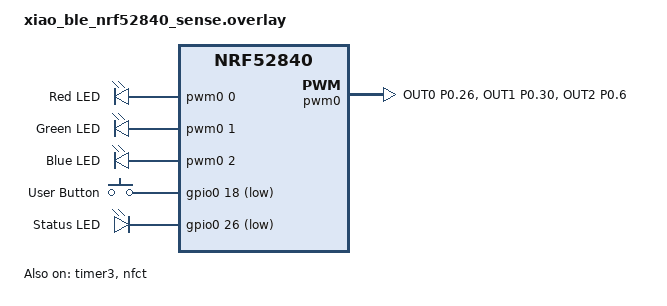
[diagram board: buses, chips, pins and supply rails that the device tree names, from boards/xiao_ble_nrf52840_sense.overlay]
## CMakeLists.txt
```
# SPDX-License-Identifier: Apache-2.0

cmake_minimum_required(VERSION 3.20.0)
find_package(Zephyr REQUIRED HINTS $ENV{ZEPHYR_BASE})
project(haykulFinderFirmware)

target_sources(app PRIVATE
    src/main.cpp
    src/ble_manager.cpp
    src/buzzer.cpp
    src/imu_bma400.cpp
    src/nfc_manager.cpp
    src/button_manager.cpp
    src/led_manager.cpp
    src/battery_monitor.cpp
)
```

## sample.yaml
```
sample:
  name: haykulFinderFirmware
tests:
  sample.basic.haykulFinderFirmware:
    tags:
      - LED
      - gpio
    filter: dt_enabled_alias_with_parent_compat("led0", "gpio-leds")
    depends_on: gpio
    harness: led
    integration_platforms:
      - frdm_k64f
```

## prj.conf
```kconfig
# Zephyr feature switches for HaykulFinder
CONFIG_GPIO=y
CONFIG_LOG=y
CONFIG_CBPRINTF_FP_SUPPORT=y
CONFIG_SENSOR=y

# Enable the PWM driver for the Piezo Buzzer
CONFIG_PWM=y

# Enable C++ support
CONFIG_CPP=y
CONFIG_STD_CPP17=y

# Enable Bluetooth support
CONFIG_BT=y
CONFIG_BT_PERIPHERAL=y
CONFIG_BT_DEVICE_NAME="HaykulTracker"
CONFIG_BT_SMP=y
CONFIG_BT_SETTINGS=y
CONFIG_FLASH=y
CONFIG_FLASH_MAP=y
CONFIG_NVS=y
CONFIG_SETTINGS=y

# Enable RTT logging
CONFIG_USE_SEGGER_RTT=y
CONFIG_LOG_BACKEND_RTT=y
CONFIG_CONSOLE=y
CONFIG_RTT_CONSOLE=y
CONFIG_UART_CONSOLE=n

# --- I2C for BMA400 Accelerometer ---
# Schematic: CSB=VDD selects I2C mode, SDO=GND selects addr 0x14
# Note: Zephyr has no native BMA400 driver; using raw I2C in imu_bma400.cpp
CONFIG_I2C=y

# --- Power Management ---
# Note: CONFIG_PM requires HAS_PM which depends on SYS_CLOCK_EXISTS
# Removed PM configs that aren't supported on this SoC/board combo

# --- NFC T2T for OOB Pairing ---
CONFIG_NFC_T2T_NRFXLIB=y
CONFIG_NFC_NDEF=y
CONFIG_NFC_NDEF_MSG=y
CONFIG_NFC_NDEF_RECORD=y
CONFIG_NFC_NDEF_LE_OOB_REC=y
CONFIG_NFC_NDEF_LAUNCHAPP_REC=y

# Battery Service
CONFIG_BT_BAS=y

# --- ADC for battery level (SAADC VDDHDIV5) ---
CONFIG_ADC=y
CONFIG_ADC_NRFX_SAADC=y

# --- Work queues / timers for button + LED ---
CONFIG_SYSTEM_WORKQUEUE_STACK_SIZE=2048

# --- Heap: required by NFC_THREAD_CALLBACK ring buffer ---
CONFIG_HEAP_MEM_POOL_SIZE=1024
```

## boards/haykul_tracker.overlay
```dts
/*
 * HaykulTracker Devicetree Overlay
 * Targeting Raytac MDBT50Q-P1MV2 (nRF52840)
 *
 * Verified pin mapping from tracker.kicad_sch:
 *   BMA400 (I2C mode):
 *     SCL -> P0.12,  SDA -> P0.11,  INT1 -> P0.13
 *     CSB -> VDD (I2C enabled), SDO -> GND (I2C addr 0x14)
 *   Buzzer:
 *     P0.14 -> BSS138 Gate -> MOSFET drives piezo buzzer
 *   NFC:
 *     P0.09/P0.10 (nRF52840 built-in NFC pins)
 */

/ {
    aliases {
        buzzer-pwm  = &buzzer_pwm;
        user-button = &user_button;
        status-led  = &status_led_0;
    };

    buzzer {
        compatible = "pwm-leds";
        buzzer_pwm: buzzer_0 {
            pwms = <&pwm0 0 PWM_HZ(4000) PWM_POLARITY_NORMAL>;
            label = "Piezo Buzzer";
        };
    };

    /* Push-button SW1: connected between P1.10 and GND (active-low). */
    buttons {
        compatible = "gpio-keys";
        user_button: button_0 {
            gpios = <&gpio1 10 (GPIO_ACTIVE_LOW | GPIO_PULL_UP)>;
            label = "User Button";
        };
    };

    /* Software status LED on P0.20. Active-high.
     * Note: D1 (charging LED) is driven by MCP73831 STAT — not by firmware. */
    leds {
        compatible = "gpio-leds";
        status_led_0: led_0 {
            gpios = <&gpio0 20 GPIO_ACTIVE_HIGH>;
            label = "Status LED";
        };
    };
};

&pinctrl {
    i2c0_default: i2c0_default {
        group1 {
            psels = <NRF_PSEL(TWIM_SCL, 0, 12)>,  /* P0.12 -> BMA400 SCX */
                    <NRF_PSEL(TWIM_SDA, 0, 11)>;   /* P0.11 -> BMA400 SDX */
        };
    };

    i2c0_sleep: i2c0_sleep {
        group1 {
            psels = <NRF_PSEL(TWIM_SCL, 0, 12)>,
                    <NRF_PSEL(TWIM_SDA, 0, 11)>;
            low-power-enable;
        };
    };

    pwm0_default: pwm0_default {
        group1 {
            psels = <NRF_PSEL(PWM_OUT0, 0, 14)>;   /* P0.14 -> BSS138 Gate -> Buzzer */
        };
    };

    pwm0_sleep: pwm0_sleep {
        group1 {
            psels = <NRF_PSEL(PWM_OUT0, 0, 14)>;
            low-power-enable;
        };
    };
};

&i2c0 {
    compatible = "nordic,nrf-twim";
    status = "okay";
    pinctrl-0 = <&i2c0_default>;
    pinctrl-1 = <&i2c0_sleep>;
    pinctrl-names = "default", "sleep";
    clock-frequency = <I2C_BITRATE_FAST>;  /* 400kHz */
};

&pwm0 {
    status = "okay";
    pinctrl-0 = <&pwm0_default>;
    pinctrl-1 = <&pwm0_sleep>;
    pinctrl-names = "default", "sleep";
};

/* Enable SAADC for internal VDDHDIV5 battery-level measurement. */
&adc {
    status = "okay";
};

/* Enable the NFCT peripheral for NFC T2T tap-to-pair.
 * Uses nRF52840 dedicated NFC pins P0.09/P0.10. */
&nfct {
    status = "okay";
};
```

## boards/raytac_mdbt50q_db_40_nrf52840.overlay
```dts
/*
 * HaykulTracker Devicetree Overlay
 * Targeting Raytac MDBT50Q-P1MV2 (nRF52840)
 *
 * Verified pin mapping from tracker.kicad_sch:
 *   BMA400 (I2C mode):
 *     SCL -> P0.12,  SDA -> P0.11,  INT1 -> P0.13
 *     CSB -> VDD (I2C enabled), SDO -> GND (I2C addr 0x14)
 *   Buzzer:
 *     P0.14 -> BSS138 Gate -> MOSFET drives piezo buzzer
 *   NFC:
 *     P0.09/P0.10 (nRF52840 built-in NFC pins)
 */

/ {
    aliases {
        buzzer-pwm  = &buzzer_pwm;
        user-button = &user_button;
        status-led  = &status_led_0;
    };

    buzzer {
        compatible = "pwm-leds";
        buzzer_pwm: buzzer_0 {
            pwms = <&pwm0 0 PWM_HZ(4000) PWM_POLARITY_NORMAL>;
            label = "Piezo Buzzer";
        };
    };

    /* Push-button SW1: connected between P1.10 and GND (active-low). */
    buttons {
        compatible = "gpio-keys";
        user_button: button_0 {
            gpios = <&gpio1 10 (GPIO_ACTIVE_LOW | GPIO_PULL_UP)>;
            label = "User Button";
        };
    };

    /* Software status LED on P0.20. Active-high.
     * Note: D1 (charging LED) is driven by MCP73831 STAT — not by firmware. */
    leds {
        compatible = "gpio-leds";
        status_led_0: led_0 {
            gpios = <&gpio0 20 GPIO_ACTIVE_HIGH>;
            label = "Status LED";
        };
    };
};

&pinctrl {
    i2c0_default: i2c0_default {
        group1 {
            psels = <NRF_PSEL(TWIM_SCL, 0, 12)>,  /* P0.12 -> BMA400 SCX */
                    <NRF_PSEL(TWIM_SDA, 0, 11)>;   /* P0.11 -> BMA400 SDX */
        };
    };

    i2c0_sleep: i2c0_sleep {
        group1 {
            psels = <NRF_PSEL(TWIM_SCL, 0, 12)>,
                    <NRF_PSEL(TWIM_SDA, 0, 11)>;
            low-power-enable;
        };
    };

    pwm0_default: pwm0_default {
        group1 {
            psels = <NRF_PSEL(PWM_OUT0, 0, 14)>;   /* P0.14 -> BSS138 Gate -> Buzzer */
        };
    };

    pwm0_sleep: pwm0_sleep {
        group1 {
            psels = <NRF_PSEL(PWM_OUT0, 0, 14)>;
            low-power-enable;
        };
    };
};

&i2c0 {
    compatible = "nordic,nrf-twim";
    status = "okay";
    pinctrl-0 = <&i2c0_default>;
    pinctrl-1 = <&i2c0_sleep>;
    pinctrl-names = "default", "sleep";
    clock-frequency = <I2C_BITRATE_FAST>;  /* 400kHz */
};

&pwm0 {
    status = "okay";
    pinctrl-0 = <&pwm0_default>;
    pinctrl-1 = <&pwm0_sleep>;
    pinctrl-names = "default", "sleep";
};

/* Enable SAADC for internal VDDHDIV5 battery-level measurement. */
&adc {
    status = "okay";
};
```

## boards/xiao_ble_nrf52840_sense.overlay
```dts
/*
 * Custom Devicetree Overlay for Seeed Studio XIAO nRF52840 Sense
 *
 * This file is automatically picked up by the Zephyr build system
 * based on its filename: <board_identifier>.overlay
 *
 * PWM is used here so all three RGB LEDs can be dimmed independently.
 * PWM0 channels 0-2 are mapped to the same GPIO pins as the board's
 * built-in led0/led1/led2 (P0.26 red, P0.30 green, P0.06 blue).
 */

/* Disable the plain GPIO leds node to avoid pin conflicts with PWM. */
&led0 { status = "disabled"; };
&led1 { status = "disabled"; };
&led2 { status = "disabled"; };

/* Configure PWM0 pin-control states for the three LED pins. */
&pinctrl {
    pwm0_default: pwm0_default {
        group1 {
            psels = <NRF_PSEL(PWM_OUT0, 0, 26)>,   /* Red   – P0.26 */
                    <NRF_PSEL(PWM_OUT1, 0, 30)>,   /* Green – P0.30 */
                    <NRF_PSEL(PWM_OUT2, 0, 6)>;    /* Blue  – P0.06 */
            nordic,invert; /* LEDs are active-low */
        };
    };

    pwm0_sleep: pwm0_sleep {
        group1 {
            psels = <NRF_PSEL(PWM_OUT0, 0, 26)>,
                    <NRF_PSEL(PWM_OUT1, 0, 30)>,
                    <NRF_PSEL(PWM_OUT2, 0, 6)>;
            low-power-enable;
        };
    };
};

/* Enable PWM0 with the pinctrl states defined above. */
&pwm0 {
    status = "okay";
    pinctrl-0 = <&pwm0_default>;
    pinctrl-1 = <&pwm0_sleep>;
    pinctrl-names = "default", "sleep";
};

/ {
    /* PWM LED nodes – one per colour channel. */
    pwmleds {
        compatible = "pwm-leds";

        pwm_led0: pwm_led_0 {
            pwms = <&pwm0 0 PWM_MSEC(20) PWM_POLARITY_INVERTED>;
            label = "Red LED";
        };

        pwm_led1: pwm_led_1 {
            pwms = <&pwm0 1 PWM_MSEC(20) PWM_POLARITY_INVERTED>;
            label = "Green LED";
        };

        pwm_led2: pwm_led_2 {
            pwms = <&pwm0 2 PWM_MSEC(20) PWM_POLARITY_INVERTED>;
            label = "Blue LED";
        };
    };

    aliases {
        pwm-led0    = &pwm_led0;
        pwm-led1    = &pwm_led1;
        pwm-led2    = &pwm_led2;
        /* No physical buzzer on XIAO; map to blue LED (P0.06) for visual feedback */
        buzzer-pwm  = &pwm_led2;
        /* The user button on the XIAO board (P0.18, active-low) */
        user-button = &user_button;
        /* Reuse P0.26 (red LED GPIO) as software status LED */
        status-led  = &status_led_xiao;
    };
    /* XIAO user button: P0.18, active-low, pull-up. */
    buttons {
        compatible = "gpio-keys";
        user_button: button_0 {
            gpios = <&gpio0 18 (GPIO_ACTIVE_LOW | GPIO_PULL_UP)>;
            label = "User Button";
        };
    };

    /* Status LED — plain GPIO on P0.26 (same physical pin as red PWM LED).
     * Used for software blink patterns.  The PWM red channel is still
     * available via pwm_led0 when buzzer feedback is needed. */
    leds {
        compatible = "gpio-leds";
        status_led_xiao: led_status {
            gpios = <&gpio0 26 GPIO_ACTIVE_LOW>;
            label = "Status LED";
        };
    };
};

&timer3 {
    status = "okay";
};

/* Enable the NFCT peripheral so HAS_HW_NRF_NFCT is set and NFC_PLATFORM
 * can compile the platform glue (nfc_platform_* symbols). */
&nfct {
    status = "okay";
};
```

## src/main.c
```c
/*
 * Copyright (c) 2016 Intel Corporation
 *
 * SPDX-License-Identifier: Apache-2.0
 */

#include <stdio.h>
#include <zephyr/drivers/gpio.h>
#include <zephyr/kernel.h>

/* 1000 msec = 1 sec */
#define SLEEP_TIME_MS 500

/* The devicetree node identifier for the "led0" alias. */
#define LED0_NODE DT_ALIAS(led0)

/*
 * A build error on this line means your board is unsupported.
 * See the sample documentation for information on how to fix this.
 */
static const struct gpio_dt_spec led = GPIO_DT_SPEC_GET(LED0_NODE, gpios);

int main(void) {
  int ret;
  bool led_state = true;

  if (!gpio_is_ready_dt(&led)) {
    return 0;
  }

  ret = gpio_pin_configure_dt(&led, GPIO_OUTPUT_ACTIVE);
  if (ret < 0) {
    return 0;
  }

  while (1) {
    ret = gpio_pin_toggle_dt(&led);
    if (ret < 0) {
      return 0;
    }

    led_state = !led_state;
    printf("LED state: %s\n", led_state ? "ON" : "OFF");
    k_msleep(SLEEP_TIME_MS);
  }
  return 0;
}
```

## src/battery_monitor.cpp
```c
/**
 * @file battery_monitor.cpp
 * @brief Battery level measurement via nRF52840 internal SAADC.
 *
 * The SAADC is configured to sample the internal VDDHDIV5 channel:
 *   - Gain         : 1/6
 *   - Reference    : Internal (0.6 V)
 *   - Acquisition  : 40 µs
 *   - Resolution   : 12-bit (4096 counts)
 *
 * With gain 1/6 and reference 0.6 V the full-scale input is 3.6 V.
 * VDDHDIV5 = VDD / 5, so max detectable VDD ≈ 18 V — way above Li-Po
 * maximum, giving us plenty of headroom.
 *
 * Conversion formula:
 *   mV_VDDHDIV5 = (raw / 4096) * 3600  (since full-scale = 3.6 V = 3600 mV)
 *   mV_VDD      = mV_VDDHDIV5 * 5
 */

#include "battery_monitor.h"
#include <zephyr/kernel.h>
#include <zephyr/drivers/adc.h>
#include <zephyr/logging/log.h>

LOG_MODULE_REGISTER(battery_monitor, LOG_LEVEL_INF);

/* ── ADC configuration ───────────────────────────────────────────────────── */
#if DT_NODE_EXISTS(DT_NODELABEL(adc))
static const struct device *adc_dev = DEVICE_DT_GET(DT_NODELABEL(adc));
#else
static const struct device *adc_dev = nullptr;
#endif

/** SAADC channel ID reserved for VDD measurement. */
static constexpr uint8_t ADC_VDD_CHANNEL = 0;

static const struct adc_channel_cfg vdd_ch_cfg = {
    .gain             = ADC_GAIN_1_6,
    .reference        = ADC_REF_INTERNAL,
    .acquisition_time = ADC_ACQ_TIME(ADC_ACQ_TIME_MICROSECONDS, 40),
    .channel_id       = ADC_VDD_CHANNEL,
    .input_positive   = SAADC_CH_PSELP_PSELP_VDDHDIV5, /* VDDH÷5: tracks battery voltage before regulator */
};

/* ── Li-Po discharge table ───────────────────────────────────────────────── */
struct {
    int32_t mv;   /* VDD millivolts */
    uint8_t pct;  /* Estimated % */
} static constexpr lipo_table[] = {
    { 4200, 100 },
    { 4000,  90 },
    { 3900,  80 },
    { 3800,  70 },
    { 3750,  60 },
    { 3700,  50 },
    { 3650,  40 },
    { 3600,  30 },
    { 3500,  20 },
    { 3400,  10 },
    { 3300,   0 },
};
static constexpr size_t LIPO_TABLE_LEN = sizeof(lipo_table) / sizeof(lipo_table[0]);

/* ── Constructor / Destructor ────────────────────────────────────────────── */

BatteryMonitor::BatteryMonitor() : initialised(false) {}
BatteryMonitor::~BatteryMonitor() {}

/* ── Public API ──────────────────────────────────────────────────────────── */

bool BatteryMonitor::init()
{
    if (!adc_dev || !device_is_ready(adc_dev)) {
        LOG_WRN("ADC device not ready — battery level will be estimated as 100%%");
        return false;
    }

    int err = adc_channel_setup(adc_dev, &vdd_ch_cfg);
    if (err) {
        LOG_ERR("ADC channel setup failed (err %d)", err);
        return false;
    }

    initialised = true;
    LOG_INF("Battery monitor initialised (VDDHDIV5 channel)");
    return true;
}

uint8_t BatteryMonitor::read_level_percent()
{
    if (!initialised) {
        /* No ADC — return a safe default so BAS still reports something. */
        return 100U;
    }

    int16_t raw = 0;
    struct adc_sequence seq = {
        .channels    = BIT(ADC_VDD_CHANNEL),
        .buffer      = &raw,
        .buffer_size = sizeof(raw),
        .resolution  = 12,
        .oversampling = 4,
    };

    int err = adc_read(adc_dev, &seq);
    if (err) {
        LOG_ERR("ADC read failed (err %d)", err);
        return 0U;
    }

    /* raw is in range [0, 4095] for 12-bit.
     * VDDHDIV5 full-scale corresponds to 3600 mV (internal ref 0.6 V × gain 6). */
    int32_t mv_div5 = (int32_t)raw * 3600 / 4096;
    int32_t mv_vdd  = mv_div5 * 5;

    LOG_DBG("VDD raw=%d, mV=%d", raw, mv_vdd);
    return mv_to_percent(mv_vdd);
}

bool BatteryMonitor::is_ready() const
{
    return initialised;
}

bool BatteryMonitor::is_low()
{
    return read_level_percent() <= BATTERY_LOW_THRESHOLD_PCT;
}

/* ── Private helpers ─────────────────────────────────────────────────────── */

uint8_t BatteryMonitor::mv_to_percent(int32_t mv)
{
    /* Above max → 100 % */
    if (mv >= lipo_table[0].mv) return 100U;
    /* Below min → 0 % */
    if (mv <= lipo_table[LIPO_TABLE_LEN - 1].mv) return 0U;

    /* Linear interpolation between adjacent table entries */
    for (size_t i = 0; i < LIPO_TABLE_LEN - 1; i++) {
        if (mv <= lipo_table[i].mv && mv > lipo_table[i + 1].mv) {
            int32_t range_mv  = lipo_table[i].mv  - lipo_table[i + 1].mv;
            int32_t range_pct = lipo_table[i].pct - lipo_table[i + 1].pct;
            int32_t offset_mv = mv - lipo_table[i + 1].mv;
            return (uint8_t)(lipo_table[i + 1].pct +
                             (offset_mv * range_pct / range_mv));
        }
    }
    return 0U;
}
```

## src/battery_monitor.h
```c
/**
 * @file battery_monitor.h
 * @brief Battery voltage measurement and level estimation.
 *
 * Uses the nRF52840 internal SAADC to measure the supply voltage via the
 * VDDHDIV5 input channel (VDD ÷ 5).  No external voltage divider is required.
 *
 * The measured VDD is compared against a Li-Po discharge curve to produce a
 * 0–100 % state-of-charge estimate.  The estimate is intentionally coarse
 * (±5 %) because the SAADC measures the regulated output, not the raw cell
 * voltage, but it is accurate enough for low-battery warnings.
 *
 * Typical Li-Po VDD thresholds (after regulator losses):
 *   100 % → 4.20 V
 *    80 % → 3.90 V
 *    60 % → 3.75 V
 *    40 % → 3.65 V
 *    20 % → 3.50 V
 *     0 % → 3.30 V  (under-voltage cut-off)
 *
 * Usage
 * -----
 * @code
 *   BatteryMonitor bat;
 *   bat.init();
 *   uint8_t pct = bat.read_level_percent();
 * @endcode
 */

#ifndef BATTERY_MONITOR_H
#define BATTERY_MONITOR_H

#include <zephyr/types.h>

/** Battery level below which the low-battery LED starts blinking. */
constexpr uint8_t BATTERY_LOW_THRESHOLD_PCT = 20U;

class BatteryMonitor {
public:
    BatteryMonitor();
    ~BatteryMonitor();

    /**
     * @brief Prepare the SAADC channel for VDD measurement.
     * @return true on success.
     */
    bool init();

    /**
     * @brief Perform one ADC conversion and return an estimated percentage.
     * @return Battery level 0–100 %, or 0 if measurement failed.
     */
    uint8_t read_level_percent();

    /**
     * @brief Return true after init() has succeeded.
     */
    bool is_ready() const;

    /**
     * @brief Convenience: return true when level is at or below the low
     *        threshold defined by BATTERY_LOW_THRESHOLD_PCT.
     */
    bool is_low();

private:
    bool initialised;

    /**
     * @brief Map a raw millivolt VDD reading to 0–100 %.
     * @param mv Measured VDD in millivolts.
     * @return Estimated state-of-charge percentage.
     */
    static uint8_t mv_to_percent(int32_t mv);
};

#endif /* BATTERY_MONITOR_H */
```

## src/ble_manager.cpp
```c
/**
 * @file ble_manager.cpp
 * @brief BLE peripheral implementation for HaykulTracker.
 *
 * GATT service layout (attribute indices used in notify calls):
 *
 *  [0]  Primary service declaration
 *  [1]  Buzzer char declaration   [2]  Buzzer char value
 *  [3]  Volume char declaration   [4]  Volume char value
 *  [5]  Alert Config declaration  [6]  Alert Config char value
 *  [7]  IMU Data char declaration [8]  IMU Data char value  [9]  IMU CCCD
 *  [10] Button Event declaration  [11] Button Event value   [12] Button CCCD
 *  [13] Alert Status declaration  [14] Alert Status value   [15] Alert CCCD
 *
 * NFC pairing uniqueness
 * ─────────────────────
 * The BLE advertising payload includes the full 128-bit Haykul service UUID
 * (BT_DATA_UUID128_ALL).  The NFC OOB record generated by nfc_manager.cpp
 * also embeds this UUID as an AD structure (type 0x07).  The Android app
 * validates the presence of this UUID before accepting an NFC pairing.
 */

#include "ble_manager.h"
#include <zephyr/bluetooth/bluetooth.h>
#include <zephyr/bluetooth/gatt.h>
#include <zephyr/bluetooth/uuid.h>
#include <zephyr/logging/log.h>
#include <zephyr/bluetooth/services/bas.h>

LOG_MODULE_REGISTER(ble_manager, LOG_LEVEL_INF);

/* ── Custom UUID Definitions ─────────────────────────────────────────────── */

/** Primary service UUID — used in advertising AND in NFC OOB AD structures
 *  to uniquely identify genuine HaykulTracker devices. */
#define BT_UUID_HAYKUL_VAL \
    BT_UUID_128_ENCODE(0x0000feaa, 0x0000, 0x1000, 0x8000, 0x00805f9b34fb)
#define BT_UUID_HAYKUL BT_UUID_DECLARE_128(BT_UUID_HAYKUL_VAL)

#define BT_UUID_BUZZER_VAL \
    BT_UUID_128_ENCODE(0x0000fe01, 0x0000, 0x1000, 0x8000, 0x00805f9b34fb)
#define BT_UUID_BUZZER BT_UUID_DECLARE_128(BT_UUID_BUZZER_VAL)

#define BT_UUID_IMU_VAL \
    BT_UUID_128_ENCODE(0x0000fe02, 0x0000, 0x1000, 0x8000, 0x00805f9b34fb)
#define BT_UUID_IMU BT_UUID_DECLARE_128(BT_UUID_IMU_VAL)

#define BT_UUID_VOLUME_VAL \
    BT_UUID_128_ENCODE(0x0000fe03, 0x0000, 0x1000, 0x8000, 0x00805f9b34fb)
#define BT_UUID_VOLUME BT_UUID_DECLARE_128(BT_UUID_VOLUME_VAL)

#define BT_UUID_ALERT_CFG_VAL \
    BT_UUID_128_ENCODE(0x0000fe04, 0x0000, 0x1000, 0x8000, 0x00805f9b34fb)
#define BT_UUID_ALERT_CFG BT_UUID_DECLARE_128(BT_UUID_ALERT_CFG_VAL)

#define BT_UUID_BTN_EVENT_VAL \
    BT_UUID_128_ENCODE(0x0000fe05, 0x0000, 0x1000, 0x8000, 0x00805f9b34fb)
#define BT_UUID_BTN_EVENT BT_UUID_DECLARE_128(BT_UUID_BTN_EVENT_VAL)

#define BT_UUID_ALERT_STATUS_VAL \
    BT_UUID_128_ENCODE(0x0000fe06, 0x0000, 0x1000, 0x8000, 0x00805f9b34fb)
#define BT_UUID_ALERT_STATUS BT_UUID_DECLARE_128(BT_UUID_ALERT_STATUS_VAL)

/* ── Global State ─────────────────────────────────────────────────────────── */

static BleManager::buzzer_callback_t       g_buzzer_cb       = nullptr;
static BleManager::volume_callback_t       g_volume_cb       = nullptr;
static BleManager::alert_config_callback_t g_alert_config_cb = nullptr;
static struct bt_conn                     *current_conn       = nullptr;

/* ── GATT Write Handlers ──────────────────────────────────────────────────── */

/**
 * @brief Handle writes to the Buzzer characteristic.
 *        Payload: 1 byte — 0x00 = off, any non-zero = on.
 */
static ssize_t write_buzzer(struct bt_conn *conn,
                             const struct bt_gatt_attr *attr,
                             const void *buf, uint16_t len, uint16_t offset,
                             uint8_t flags)
{
    if (len != 1) return BT_GATT_ERR(BT_ATT_ERR_INVALID_ATTRIBUTE_LEN);
    uint8_t value = *((const uint8_t *)buf);
    LOG_INF("Buzzer write: %s", value ? "ON" : "OFF");
    if (g_buzzer_cb) g_buzzer_cb(value > 0);
    return len;
}

/**
 * @brief Handle writes to the Volume characteristic.
 *        Payload: 1 byte — 0–100 (%).  Values above 100 are clamped.
 */
static ssize_t write_volume(struct bt_conn *conn,
                             const struct bt_gatt_attr *attr,
                             const void *buf, uint16_t len, uint16_t offset,
                             uint8_t flags)
{
    if (len != 1) return BT_GATT_ERR(BT_ATT_ERR_INVALID_ATTRIBUTE_LEN);
    uint8_t pct = *((const uint8_t *)buf);
    if (pct > 100U) pct = 100U;
    LOG_INF("Volume write: %d%%", pct);
    if (g_volume_cb) g_volume_cb(pct);
    return len;
}

/**
 * @brief Handle writes to the Alert Config characteristic.
 *        Payload: 1 byte — seconds before auto-ring on disconnect (0 = off).
 */
static ssize_t write_alert_cfg(struct bt_conn *conn,
                                const struct bt_gatt_attr *attr,
                                const void *buf, uint16_t len, uint16_t offset,
                                uint8_t flags)
{
    if (len != 1) return BT_GATT_ERR(BT_ATT_ERR_INVALID_ATTRIBUTE_LEN);
    uint8_t secs = *((const uint8_t *)buf);
    LOG_INF("Alert config write: %d s disconnect timeout", secs);
    if (g_alert_config_cb) g_alert_config_cb(secs);
    return len;
}

/* ── GATT Service Definition ──────────────────────────────────────────────── */

BT_GATT_SERVICE_DEFINE(haykul_svc,
    /* [0] Primary service */
    BT_GATT_PRIMARY_SERVICE(BT_UUID_HAYKUL),

    /* [1-2] Buzzer — write-only */
    BT_GATT_CHARACTERISTIC(BT_UUID_BUZZER,
                           BT_GATT_CHRC_WRITE,
                           BT_GATT_PERM_WRITE,
                           NULL, write_buzzer, NULL),

    /* [3-4] Volume — write-only (0–100 %) */
    BT_GATT_CHARACTERISTIC(BT_UUID_VOLUME,
                           BT_GATT_CHRC_WRITE,
                           BT_GATT_PERM_WRITE,
                           NULL, write_volume, NULL),

    /* [5-6] Alert Config — write-only (disconnect timeout in seconds) */
    BT_GATT_CHARACTERISTIC(BT_UUID_ALERT_CFG,
                           BT_GATT_CHRC_WRITE,
                           BT_GATT_PERM_WRITE,
                           NULL, write_alert_cfg, NULL),

    /* [7-9] IMU Data — notify */
    BT_GATT_CHARACTERISTIC(BT_UUID_IMU,
                           BT_GATT_CHRC_NOTIFY,
                           BT_GATT_PERM_READ,
                           NULL, NULL, NULL),
    BT_GATT_CCC(NULL, BT_GATT_PERM_READ | BT_GATT_PERM_WRITE),

    /* [10-12] Button Event — notify (0x01 = double-click) */
    BT_GATT_CHARACTERISTIC(BT_UUID_BTN_EVENT,
                           BT_GATT_CHRC_NOTIFY,
                           BT_GATT_PERM_READ,
                           NULL, NULL, NULL),
    BT_GATT_CCC(NULL, BT_GATT_PERM_READ | BT_GATT_PERM_WRITE),

    /* [13-15] Alert Status — notify (0x01 = proximity alert) */
    BT_GATT_CHARACTERISTIC(BT_UUID_ALERT_STATUS,
                           BT_GATT_CHRC_NOTIFY,
                           BT_GATT_PERM_READ,
                           NULL, NULL, NULL),
    BT_GATT_CCC(NULL, BT_GATT_PERM_READ | BT_GATT_PERM_WRITE),
);

/* Attribute index constants for notify calls */
static constexpr uint8_t ATTR_IDX_IMU        = 8U;
static constexpr uint8_t ATTR_IDX_BTN_EVENT  = 11U;
static constexpr uint8_t ATTR_IDX_ALERT_STATUS = 14U;

/* ── Connection Callbacks ─────────────────────────────────────────────────── */

void BleManager::connected(struct bt_conn *conn, uint8_t err)
{
    if (err) {
        LOG_ERR("Connection failed (err %u)", err);
        return;
    }
    LOG_INF("Central connected");
    current_conn = bt_conn_ref(conn);
}

void BleManager::disconnected(struct bt_conn *conn, uint8_t reason)
{
    LOG_INF("Central disconnected (reason 0x%02x)", reason);
    if (current_conn) {
        bt_conn_unref(current_conn);
        current_conn = nullptr;
    }
}

BT_CONN_CB_DEFINE(conn_callbacks) = {
    .connected    = BleManager::connected,
    .disconnected = BleManager::disconnected,
};

/* ── BleManager Implementation ───────────────────────────────────────────── */

BleManager::BleManager()
    : is_initialized(false),
      buzzer_cb(nullptr),
      volume_cb(nullptr),
      alert_config_cb(nullptr)
{}

BleManager::~BleManager() {}

int BleManager::init()
{
    int err = bt_enable(NULL);
    if (err) {
        LOG_ERR("bt_enable failed (err %d)", err);
        return err;
    }

    is_initialized = true;

    /*
     * Advertising payload: flags + full Haykul service UUID.
     * The 128-bit UUID is included so NFC OOB validation and BLE scan
     * filters both work with a single well-known identifier.
     */
    const struct bt_data ad[] = {
        BT_DATA_BYTES(BT_DATA_FLAGS, (BT_LE_AD_GENERAL | BT_LE_AD_NO_BREDR)),
        BT_DATA_BYTES(BT_DATA_UUID128_ALL, BT_UUID_HAYKUL_VAL),
    };

    const struct bt_data sd[] = {
        BT_DATA(BT_DATA_NAME_COMPLETE,
                CONFIG_BT_DEVICE_NAME,
                sizeof(CONFIG_BT_DEVICE_NAME) - 1),
    };

    err = bt_le_adv_start(BT_LE_ADV_CONN_FAST_1, ad, ARRAY_SIZE(ad), sd, ARRAY_SIZE(sd));
    if (err) {
        LOG_ERR("Advertising start failed (err %d)", err);
        return err;
    }

    LOG_INF("BLE advertising as \"%s\"", CONFIG_BT_DEVICE_NAME);
    return 0;
}

void BleManager::set_buzzer_callback(buzzer_callback_t cb)       { g_buzzer_cb       = cb; }
void BleManager::set_volume_callback(volume_callback_t cb)        { g_volume_cb       = cb; }
void BleManager::set_alert_config_callback(alert_config_callback_t cb) { g_alert_config_cb = cb; }

int BleManager::notify_imu_data(const uint8_t *data, uint16_t len)
{
    if (!current_conn) return -ENOTCONN;
    return bt_gatt_notify(current_conn, &haykul_svc.attrs[ATTR_IDX_IMU], data, len);
}

int BleManager::notify_button_event(uint8_t event)
{
    if (!current_conn) return -ENOTCONN;
    LOG_INF("Sending button event 0x%02x to phone", event);
    return bt_gatt_notify(current_conn, &haykul_svc.attrs[ATTR_IDX_BTN_EVENT], &event, 1);
}

int BleManager::notify_alert_status(uint8_t status)
{
    if (!current_conn) return -ENOTCONN;
    LOG_INF("Sending alert status 0x%02x to phone", status);
    return bt_gatt_notify(current_conn, &haykul_svc.attrs[ATTR_IDX_ALERT_STATUS], &status, 1);
}

int BleManager::update_battery_level(uint8_t level)
{
    return bt_bas_set_battery_level(level);
}

bool BleManager::is_connected() const
{
    return current_conn != nullptr;
}
```

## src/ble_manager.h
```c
/**
 * @file ble_manager.h
 * @brief BLE peripheral manager for HaykulTracker.
 *
 * Owns the GATT service, advertising, and connection lifecycle.
 *
 * GATT Service: Haykul Service (0000feaa-0000-1000-8000-00805f9b34fb)
 * ─────────────────────────────────────────────────────────────────────
 * | UUID   | Name            | Properties | Notes                       |
 * |--------|-----------------|------------|-----------------------------|
 * | 0xfe01 | Buzzer          | WRITE      | 0x00=off, 0x01=on           |
 * | 0xfe02 | IMU Data        | NOTIFY     | 6-byte raw BMA400 accel     |
 * | 0xfe03 | Buzzer Volume   | WRITE      | 0–100 % (uint8)             |
 * | 0xfe04 | Alert Config    | WRITE      | Disconnect-timeout seconds  |
 * | 0xfe05 | Button Event    | NOTIFY     | 0x01=double-click           |
 * | 0xfe06 | Alert Status    | NOTIFY     | 0x01=proximity alert        |
 *
 * Standard Battery Service (0x180F / 0x2A19) is also registered via
 * Zephyr's BAS module.
 *
 * AlertConfig (1 byte written to 0xfe04)
 * ─────────────────────────────────────
 * Bits [7:0] = seconds before buzzer auto-rings after disconnect (0 = disabled).
 */

#ifndef BLE_MANAGER_H
#define BLE_MANAGER_H

#include <zephyr/types.h>
#include <zephyr/bluetooth/bluetooth.h>
#include <zephyr/bluetooth/gatt.h>

class BleManager {
public:
    /** Invoked when the central writes to the Buzzer characteristic. */
    typedef void (*buzzer_callback_t)(bool enable);

    /** Invoked when the central writes to the Volume characteristic (0–100). */
    typedef void (*volume_callback_t)(uint8_t percent);

    /** Invoked when the central writes an alert-config value (seconds timeout). */
    typedef void (*alert_config_callback_t)(uint8_t seconds);

    BleManager();
    ~BleManager();

    /**
     * @brief Enable Bluetooth and start advertising.
     * @return 0 on success, negative error code on failure.
     */
    int init();

    /** @brief Register application callback for buzzer on/off commands. */
    void set_buzzer_callback(buzzer_callback_t cb);

    /** @brief Register application callback for volume changes (0–100 %). */
    void set_volume_callback(volume_callback_t cb);

    /** @brief Register application callback for alert-config writes. */
    void set_alert_config_callback(alert_config_callback_t cb);

    /**
     * @brief Send a 6-byte IMU acceleration notification to the connected
     *        central.
     * @param data  Pointer to 6 raw bytes from BMA400.
     * @param len   Must be exactly 6.
     * @return 0 on success, -ENOTCONN if no central is connected.
     */
    int notify_imu_data(const uint8_t *data, uint16_t len);

    /**
     * @brief Send a button-event notification to the connected central.
     * @param event  0x01 = double-click (ring phone).
     * @return 0 on success.
     */
    int notify_button_event(uint8_t event);

    /**
     * @brief Send a proximity / alert-status notification.
     * @param status  0x01 = proximity alert triggered.
     * @return 0 on success.
     */
    int notify_alert_status(uint8_t status);

    /**
     * @brief Update the Battery Service level (0–100 %).
     * @param level Battery percentage.
     * @return 0 on success.
     */
    int update_battery_level(uint8_t level);

    /** @brief Return true if a central is currently connected. */
    bool is_connected() const;

    /* ── Zephyr connection callbacks (must be public for BT_CONN_CB_DEFINE) ── */
    static void connected(struct bt_conn *conn, uint8_t err);
    static void disconnected(struct bt_conn *conn, uint8_t reason);

private:
    bool is_initialized;
    buzzer_callback_t       buzzer_cb;
    volume_callback_t       volume_cb;
    alert_config_callback_t alert_config_cb;
};

#endif // BLE_MANAGER_H
```

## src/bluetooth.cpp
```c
/*
 * bluetooth.cpp — BLE subsystem for the XIAO temperature tracker.
 *
 * This file does three things:
 *   1. Broadcasts the die temperature via BLE advertising packets.
 *   2. Exposes the Immediate Alert Service (IAS, UUID 0x1802) so a
 *      connected phone can trigger an alert on the device.
 *   3. Routes incoming alert writes back to the application through
 *      a registered callback function.
 *
 * Data flow:
 *   Phone writes alert level → Zephyr GATT stack → write_alert_level()
 *     → g_alert_cb() → on_alert_received() in main.cpp
 *       → sets current_alert_level → main loop strobes LEDs
 */

#include "bluetooth.h"
#include <zephyr/bluetooth/bluetooth.h> /* bt_enable, bt_le_adv_* */
#include <zephyr/bluetooth/gatt.h>      /* BT_GATT_SERVICE_DEFINE, etc. */
#include <zephyr/bluetooth/uuid.h>      /* BT_UUID_IAS, BT_UUID_ALERT_LEVEL */
#include <zephyr/logging/log.h>

/* Register a log module named "bt_class" so log messages from this file
 * appear tagged as [bt_class] in the RTT console output. */
LOG_MODULE_REGISTER(bt_class, LOG_LEVEL_INF);

/* ── Alert callback plumbing ────────────────────────────────────────────
 *
 * Zephyr's GATT layer calls plain C functions, so we can't directly use
 * a C++ member function.  Instead we store a global function pointer
 * (g_alert_cb) that the Bluetooth class sets via set_alert_callback().
 *
 * When a phone writes to the Alert Level characteristic, the Zephyr
 * stack invokes write_alert_level() below, which in turn calls g_alert_cb
 * to notify the application.
 *
 * ALERT FLOW:
 *   Phone app  ──(BLE write)──►  write_alert_level()
 *                                   │
 *                                   ▼
 *                              g_alert_cb(level)      ◄── set by
 * set_alert_callback() │ ▼ on_alert_received()        ◄── defined in main.cpp │
 *                                   ▼
 *                          current_alert_level = level ◄── global in main.cpp
 */
static alert_callback_t g_alert_cb = nullptr;

/* ── Brightness level ────────────────────────────────────────────────────
 *
 * This variable holds the LED brightness (0–100) written by the phone.
 * It is used as user_data for the brightness characteristic, so the
 * write handler stores the phone's value directly here.
 */
static uint8_t g_brightness_level = 0;

/*
 * bt_get_brightness() — Returns the current brightness (0–100).
 *
 * Called from main.cpp's main loop to read the latest value the phone
 * wrote to the Brightness characteristic.  The value is updated in
 * interrupt/BLE context by write_brightness(), so reads here are
 * effectively "last written value" semantics.
 *
 * Returns: 0 if no brightness has been set (default idle fade),
 *          1–100 for a fixed brightness percentage.
 */
uint8_t bt_get_brightness(void) { return g_brightness_level; }

/* ── GATT write handler ─────────────────────────────────────────────────
 *
 * This is the callback Zephyr invokes whenever a connected BLE central
 * (e.g. a phone) writes to the Alert Level characteristic (UUID 0x2A06).
 *
 * Parameters (all supplied by the Zephyr GATT stack):
 *   conn   – the BLE connection that sent the write
 *   attr   – pointer to the GATT attribute being written
 *   buf    – pointer to the raw bytes the phone sent
 *   len    – number of bytes received (must be exactly 1 for alert level)
 *   offset – byte offset (unused here, always 0 for simple writes)
 *   flags  – write flags (e.g. BT_GATT_WRITE_FLAG_PREPARE)
 *
 * The alert level values per the Bluetooth spec are:
 *   0 = No Alert
 *   1 = Mild Alert
 *   2 = High Alert
 *
 * Returns: number of bytes consumed, or a GATT error code.
 */
static ssize_t write_alert_level(struct bt_conn *conn,
                                 const struct bt_gatt_attr *attr,
                                 const void *buf, uint16_t len, uint16_t offset,
                                 uint8_t flags) {
  /* The Alert Level characteristic is exactly 1 byte.
   * Reject any write that doesn't match. */
  if (len != 1) {
    return BT_GATT_ERR(BT_ATT_ERR_INVALID_ATTRIBUTE_LEN);
  }

  /* Extract the single-byte alert level from the write buffer. */
  uint8_t level = *((uint8_t *)buf);
  LOG_INF("Phone sent Alert Level: %d", level);

  /* Forward the alert level to the application via the registered callback.
   * This is where the alert actually reaches your application code —
   * g_alert_cb points to on_alert_received() in main.cpp, which sets
   * the global current_alert_level variable.  The main loop checks that
   * variable every iteration and switches to strobe mode when it's > 0. */
  if (g_alert_cb) {
    g_alert_cb(level); /* ◄── ALERT IS DELIVERED TO THE APP HERE */
  }

  return len; /* Tell Zephyr we consumed all bytes successfully. */
}

/* ── Custom UUID for the Brightness characteristic ──────────────────────
 *
 * No standard BLE UUID exists for "brightness", so we define a custom
 * 128-bit UUID.  The phone app must know this UUID to discover and
 * write to it.
 */
#define BT_UUID_BRIGHTNESS_VAL                                                 \
  BT_UUID_128_ENCODE(0x12345678, 0x1234, 0x5678, 0x1234, 0x56789abcdef0)
#define BT_UUID_BRIGHTNESS BT_UUID_DECLARE_128(BT_UUID_BRIGHTNESS_VAL)

/* ── Brightness write handler ───────────────────────────────────────────
 *
 * write_brightness() — GATT write callback for the Brightness characteristic.
 *
 * This function is invoked by Zephyr's BLE stack whenever a connected
 * phone writes to the custom Brightness characteristic (128-bit UUID
 * defined above as BT_UUID_BRIGHTNESS).
 *
 * How user_data makes this work:
 *   In the BT_GATT_CHARACTERISTIC declaration below, the last argument
 *   is &g_brightness_level.  Zephyr stores that pointer in attr->user_data.
 *   When the phone writes, this handler casts attr->user_data back to a
 *   uint8_t* and stores the value there.  This means:
 *     - The handler doesn't hardcode which variable to write to.
 *     - You could reuse this same handler for other single-byte
 *       characteristics by passing a different variable as user_data.
 *
 * Parameters (all supplied by the Zephyr GATT stack):
 *   conn   – the BLE connection that sent the write
 *   attr   – pointer to the GATT attribute being written;
 *            attr->user_data points to g_brightness_level
 *   buf    – pointer to the raw byte(s) the phone sent
 *   len    – number of bytes received (must be exactly 1)
 *   offset – byte offset (unused, always 0 for simple writes)
 *   flags  – write flags (e.g. BT_GATT_WRITE_FLAG_PREPARE)
 *
 * Validation:
 *   - Rejects writes that aren't exactly 1 byte.
 *   - Clamps values above 100 down to 100 (valid range: 0–100).
 *
 * Returns: number of bytes consumed (1) on success,
 *          or BT_GATT_ERR(...) on invalid input.
 */
static ssize_t write_brightness(struct bt_conn *conn,
                                const struct bt_gatt_attr *attr,
                                const void *buf, uint16_t len, uint16_t offset,
                                uint8_t flags) {
  if (len != 1) {
    return BT_GATT_ERR(BT_ATT_ERR_INVALID_ATTRIBUTE_LEN);
  }

  uint8_t value = *((uint8_t *)buf);
  if (value > 100) {
    value = 100; /* Clamp to valid brightness range */
  }

  uint8_t *target = (uint8_t *)attr->user_data;
  *target = value;

  LOG_INF("Brightness set to: %d", value);
  return len;
}

/* ── GATT service definition ────────────────────────────────────────────
 *
 * BT_GATT_SERVICE_DEFINE is a Zephyr macro that statically registers a
 * GATT service at compile time.  At boot, Zephyr's BLE stack picks it up
 * automatically — no runtime registration needed.
 *
 * Service: Immediate Alert Service (IAS)
 *   UUID: 0x1802  (standard Bluetooth SIG UUID)
 *   Purpose: lets a phone send an alert to the device (e.g. "find my device")
 *
 * Characteristic: Alert Level
 *   UUID: 0x2A06  (standard Bluetooth SIG UUID)
 *   Properties: Write Without Response (fire-and-forget from the phone)
 *   Permissions: writable by any connected central (no encryption required)
 *   Read callback: NULL  (write-only characteristic)
 *   Write callback: write_alert_level  ◄── handles incoming alerts
 *   User data: NULL
 */
BT_GATT_SERVICE_DEFINE(
    ias_svc, BT_GATT_PRIMARY_SERVICE(BT_UUID_IAS),
    BT_GATT_CHARACTERISTIC(BT_UUID_ALERT_LEVEL, BT_GATT_CHRC_WRITE_WITHOUT_RESP,
                           BT_GATT_PERM_WRITE, NULL, write_alert_level, NULL),
    BT_GATT_CHARACTERISTIC(BT_UUID_BRIGHTNESS, BT_GATT_CHRC_WRITE_WITHOUT_RESP,
                           BT_GATT_PERM_WRITE, NULL, write_brightness,
                           &g_brightness_level) /* ◄── user_data */
);

/* ── Advertising parameters ─────────────────────────────────────────────
 *
 * These parameters control how the device advertises over BLE:
 *
 *   BT_LE_ADV_OPT_CONN      – the device is connectable, meaning a phone
 *                               can establish a full GATT connection (needed
 *                               for the IAS alert write to work).
 *   BT_LE_ADV_OPT_SCANNABLE – the device responds to scan requests with
 *                               additional data (the scan response contains
 *                               the device name "XIAO_TEMP").
 *
 *   BT_GAP_ADV_FAST_INT_MIN_2 / MAX_2 – fast advertising interval
 *                               (100–150 ms), so nearby phones discover
 *                               the device quickly.
 *
 *   NULL (last param) – no directed advertising; broadcast to everyone.
 */
/* Slow down the advertising interval to save battery */
static const struct bt_le_adv_param adv_param = BT_LE_ADV_PARAM_INIT(
    BT_LE_ADV_OPT_CONN | BT_LE_ADV_OPT_SCANNABLE,
    BT_GAP_ADV_SLOW_INT_MIN, BT_GAP_ADV_SLOW_INT_MAX, NULL);

/* ── Bluetooth class implementation ─────────────────────────────────────*/

/* Constructor: just marks the instance as not yet initialized.
 * No BLE operations happen until init() is called. */
Bluetooth::Bluetooth() : is_initialized(false) {}

/* Destructor: nothing to clean up — Zephyr doesn't support
 * tearing down the BLE stack at runtime. */
Bluetooth::~Bluetooth() {}

/*
 * init() — Power on the BLE radio and initialize the Zephyr BLE stack.
 *
 * bt_enable(NULL) is a blocking call that:
 *   1. Initializes the HCI transport to the nRF radio.
 *   2. Loads stored BLE settings (if CONFIG_BT_SETTINGS is enabled).
 *   3. Makes the GATT services (including our IAS) ready to use.
 *
 * The NULL callback means "block until ready" (synchronous init).
 *
 * Returns: 0 on success, negative errno on failure.
 */
int Bluetooth::init() {
  int err = bt_enable(NULL);
  if (err) {
    LOG_ERR("bt_enable failed (err %d)", err);
  } else {
    is_initialized = true;
  }
  return err;
}

/*
 * set_alert_callback() — Register the function that will be called when
 * the phone writes an alert level.
 *
 * This stores the callback in the global g_alert_cb so that the C-level
 * GATT write handler (write_alert_level) can invoke it.
 *
 * In main.cpp this is called as:
 *   ble.set_alert_callback(on_alert_received);
 *
 * ALERT REGISTRATION HAPPENS HERE — this is where you wire up what
 * happens when the phone triggers a "find my device" alert.
 */
void Bluetooth::set_alert_callback(alert_callback_t cb) {
  g_alert_cb = cb; /* ◄── ALERT CALLBACK IS REGISTERED HERE */
}

/*
 * update_temperature() — Broadcast the current temperature via BLE advertising.
 *
 * This builds a BLE advertising packet and either starts advertising or
 * updates an already-running advertisement.  Any phone scanning nearby
 * can read the temperature without connecting.
 *
 * Advertising packet structure (ad[]):
 *   ┌──────────────────────────────────────────────────────┐
 *   │ Flags (1 byte):                                      │
 *   │   BT_LE_AD_GENERAL  – device is discoverable         │
 *   │   BT_LE_AD_NO_BREDR – BLE only, no classic Bluetooth │
 *   ├──────────────────────────────────────────────────────┤
 *   │ Manufacturer Data (3 bytes):                         │
 *   │   0xFF, 0xFF – company ID (0xFFFF = "testing/demo")  │
 *   │   temp_celsius – the temperature reading (1 byte)    │
 *   └──────────────────────────────────────────────────────┘
 *
 * Scan response packet (sd[]):
 *   ┌──────────────────────────────────────────────────────┐
 *   │ Complete Local Name: "XIAO_TEMP"                     │
 *   │   (from CONFIG_BT_DEVICE_NAME in prj.conf)          │
 *   └──────────────────────────────────────────────────────┘
 *
 * Note: the temperature is cast to uint8_t, so it wraps at 255°C and
 * cannot represent negative values.  This is fine for die temperature
 * which is typically 20–60°C.
 */
void Bluetooth::update_temperature(int32_t temp_celsius) {
  /* Don't touch BLE if the stack hasn't been initialized yet. */
  if (!is_initialized)
    return;

  /* AD Flags: tell scanners this is a BLE-only, generally discoverable device.
   */
  uint8_t flags = BT_LE_AD_GENERAL | BT_LE_AD_NO_BREDR;

  /* Manufacturer-specific data: 2-byte company ID + 1-byte temperature.
   * Company ID 0xFFFF is reserved for testing and won't conflict with
   * real manufacturers. */
  uint8_t mfg_data[] = {0xFF, 0xFF, (uint8_t)temp_celsius};

  /* Build the main advertising data array. */
  const struct bt_data ad[] = {
      BT_DATA(BT_DATA_FLAGS, &flags, sizeof(flags)),
      BT_DATA(BT_DATA_MANUFACTURER_DATA, mfg_data, sizeof(mfg_data)),
  };

  /* Build the scan response data (sent when a scanner requests more info). */
  const struct bt_data sd[] = {
      BT_DATA(BT_DATA_NAME_COMPLETE, CONFIG_BT_DEVICE_NAME,
              sizeof(CONFIG_BT_DEVICE_NAME) - 1),
  };

  /* Try to start advertising.  If already advertising (-EALREADY),
   * just update the payload with the new temperature instead. */
  int err = bt_le_adv_start(&adv_param, ad, ARRAY_SIZE(ad), sd, ARRAY_SIZE(sd));
  if (err == -EALREADY) {
    err = bt_le_adv_update_data(ad, ARRAY_SIZE(ad), sd, ARRAY_SIZE(sd));
  }

  if (err) {
    LOG_ERR("Advertising failed (err %d)", err);
  } else {
    LOG_INF("Temp: %d C", temp_celsius);
  }
}
```

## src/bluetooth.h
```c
#ifndef BLUETOOTH_H
#define BLUETOOTH_H

#include <stdint.h>

/* Define a callback type for when the phone triggers an alert */
typedef void (*alert_callback_t)(uint8_t level);

/*
 * bt_get_brightness() — Read the current LED brightness set by the phone.
 *
 * This is a free function (not a class method) because the brightness
 * value lives in a file-scope static variable (g_brightness_level) inside
 * bluetooth.cpp.  The BLE write handler updates that variable whenever
 * the phone writes to the custom Brightness characteristic.
 *
 * The main loop calls this every iteration to decide how bright to
 * drive the LEDs:
 *   - 0   → use the default idle fade animation
 *   - 1–100 → set all LEDs to this fixed brightness percentage
 *
 * Returns: brightness percentage (0–100).
 */
uint8_t bt_get_brightness(void);

class Bluetooth {
public:
    Bluetooth();
    ~Bluetooth();

    // Wakes up the Bluetooth radio
    int init();

    // Updates the broadcast packet with the new temperature
    void update_temperature(int32_t temp_celsius);

    // Let the main application register its "Ring" function
    void set_alert_callback(alert_callback_t cb);

private:
    bool is_initialized;
};

#endif // BLUETOOTH_H
```

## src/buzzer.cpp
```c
/**
 * @file buzzer.cpp
 * @brief Piezo buzzer implementation.
 */

#include "buzzer.h"
#include <zephyr/device.h>
#include <zephyr/drivers/pwm.h>
#include <zephyr/logging/log.h>

LOG_MODULE_REGISTER(buzzer, LOG_LEVEL_INF);

/**
 * @brief Construct a Buzzer, obtaining the PWM spec from the devicetree
 *        "buzzer-pwm" alias defined in the board overlay.
 */
Buzzer::Buzzer()
    : buzzer_dev(PWM_DT_SPEC_GET(DT_ALIAS(buzzer_pwm))),
      volume_pct(100U),
      is_on(false)
{}

Buzzer::~Buzzer() {}

bool Buzzer::init()
{
    if (!pwm_is_ready_dt(&buzzer_dev)) {
        LOG_ERR("PWM buzzer device not ready");
        return false;
    }
    /* Ensure buzzer starts silenced */
    pwm_set_dt(&buzzer_dev, buzzer_dev.period, 0);
    LOG_INF("Buzzer initialised (default volume %d%%)", volume_pct);
    return true;
}

/**
 * @brief Enable or silence the buzzer without changing the stored volume.
 *
 * When on=true the PWM duty cycle is computed from volume_pct so that
 * 100 % volume corresponds to a 50 % duty cycle (maximum square-wave
 * amplitude for a piezo element).  The formula is:
 *
 *   duty_ns = period_ns × volume_pct / 200
 *
 * Example: period = 250 000 ns (4 kHz), volume 80 % → duty = 100 000 ns.
 */
void Buzzer::enable(bool on)
{
    is_on = on;
    if (on) {
        uint32_t duty = (uint64_t)buzzer_dev.period * volume_pct / 200U;
        pwm_set_dt(&buzzer_dev, buzzer_dev.period, duty);
        LOG_DBG("Buzzer ON (volume=%d%%, duty=%u ns)", volume_pct, duty);
    } else {
        pwm_set_dt(&buzzer_dev, buzzer_dev.period, 0);
        LOG_DBG("Buzzer OFF");
    }
}

/**
 * @brief Set the volume and immediately apply it if the buzzer is active.
 * @param percent  0 = silent, 100 = loudest (50 % duty cycle).
 */
void Buzzer::set_volume(uint8_t percent)
{
    if (percent > 100U) percent = 100U;
    volume_pct = percent;
    LOG_INF("Buzzer volume set to %d%%", volume_pct);
    if (is_on) {
        /* Reapply with the new volume immediately */
        enable(true);
    }
}

uint8_t Buzzer::get_volume() const
{
    return volume_pct;
}
```

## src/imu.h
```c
#ifndef IMU_H
#define IMU_H

#include <zephyr/device.h>
#include <zephyr/drivers/sensor.h>

class Imu {
public:
  Imu();
  ~Imu();

  // Wakes up the I2C bus and finds the sensor
  bool init();

  // Pulls the latest accelerometer data
  void read_acceleration(double &x, double &y, double &z);

  // Power Management Methods
  void wake();
  void sleep();

private:
  const struct device *imu_dev;
};

#endif // IMU_H
```
